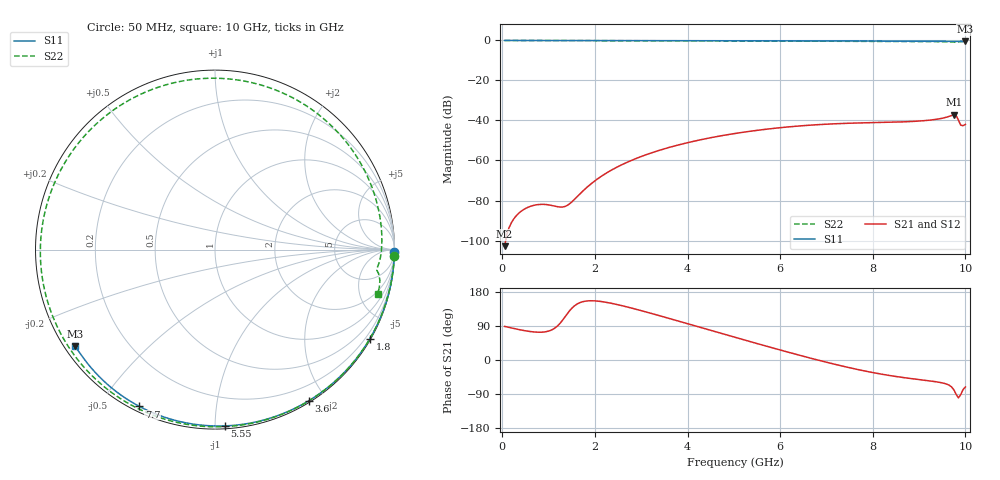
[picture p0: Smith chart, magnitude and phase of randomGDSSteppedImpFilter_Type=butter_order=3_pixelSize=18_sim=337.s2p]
! freq	dB(S11)	phase(S11)	dB(S12)	phase(S12)
!  dB(S21)	phase(S21)	dB(S22)	phase(S22)
!S-par simulation data
#  GHz  S  DB  R 50
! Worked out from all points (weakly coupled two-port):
!   200 points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, 50 MHz to 10 GHz, reference 50 ohm
!   highest |S21| = -37.16 dB at 9.75 GHz (marker M1); lowest = -102.8 dB at 50 MHz (marker M2)
!   lowest |S11| = -0.5 dB at 10 GHz (marker M3), VSWR 36.10, Z = 1.52 - j15.6 ohm
!   |S11| at or under -10 dB: nowhere
!   |S22| runs from -0.8 to 0.0 dB; largest |S21 - S12| = 0
!   S11 on the Smith chart (normalised r, x): 50 MHz: open; 1.8 GHz: 0.03, -3.75; 3.6 GHz: 0.02, -1.79; 5.55 GHz: 0.02, -1.06; 7.7 GHz: 0.02, -0.63; 10 GHz: 0.03, -0.31
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0.05  -0.00 -0.8  -102.82 88.6  -102.82 88.6  -0.00 -2.1
0.7  -0.02 -11.7  -82.31 73.8  -82.31 73.8  -0.04 -28.4
1.5  -0.03 -25.0  -80.72 136.4  -80.72 136.4  -0.07 -59.9
1.75  -0.04 -29.1  -75.04 154.2  -75.04 154.2  -0.09 -69.4
1.8  -0.04 -29.9  -73.97 155.4  -73.97 155.4  -0.09 -71.2
2.45  -0.05 -40.3  -63.64 147.2  -63.64 147.2  -0.12 -95.0
2.9  -0.06 -47.5  -58.90 133.5  -58.90 133.5  -0.13 -110.7
3.4  -0.07 -55.2  -54.85 116.8  -54.85 116.8  -0.15 -127.8
3.6  -0.08 -58.3  -53.49 109.8  -53.49 109.8  -0.16 -134.5
4.35  -0.10 -69.5  -49.31 83.6  -49.31 83.6  -0.20 -159.5
5.05  -0.12 -79.7  -46.40 59.0  -46.40 59.0  -0.24 177.0
5.55  -0.14 -86.8  -44.78 41.7  -44.78 41.7  -0.28 159.8
6.1  -0.17 -94.4  -43.38 23.0  -43.38 23.0  -0.31 140.2
6.7  -0.20 -102.5  -42.26 3.4  -42.26 3.4  -0.35 117.7
7.2  -0.23 -109.2  -41.63 -11.9  -41.63 -11.9  -0.39 98.2
7.7  -0.26 -115.8  -41.23 -25.8  -41.23 -25.8  -0.42 77.8
8.35  -0.32 -124.2  -40.89 -40.7  -40.89 -40.7  -0.47 50.8
9.1  -0.39 -133.8  -40.11 -53.2  -40.11 -53.2  -0.54 19.5
9.75  -0.46 -142.1  -37.16 -78.4  -37.16 -78.4  -0.81 -6.1
9.8  -0.46 -142.7  -37.54 -90.6  -37.54 -90.6  -0.83 -7.2
9.9  -0.47 -144.0  -42.36 -91.2  -42.36 -91.2  -0.59 -10.6
10  -0.48 -145.4  -41.96 -71.2  -41.96 -71.2  -0.54 -15.1
